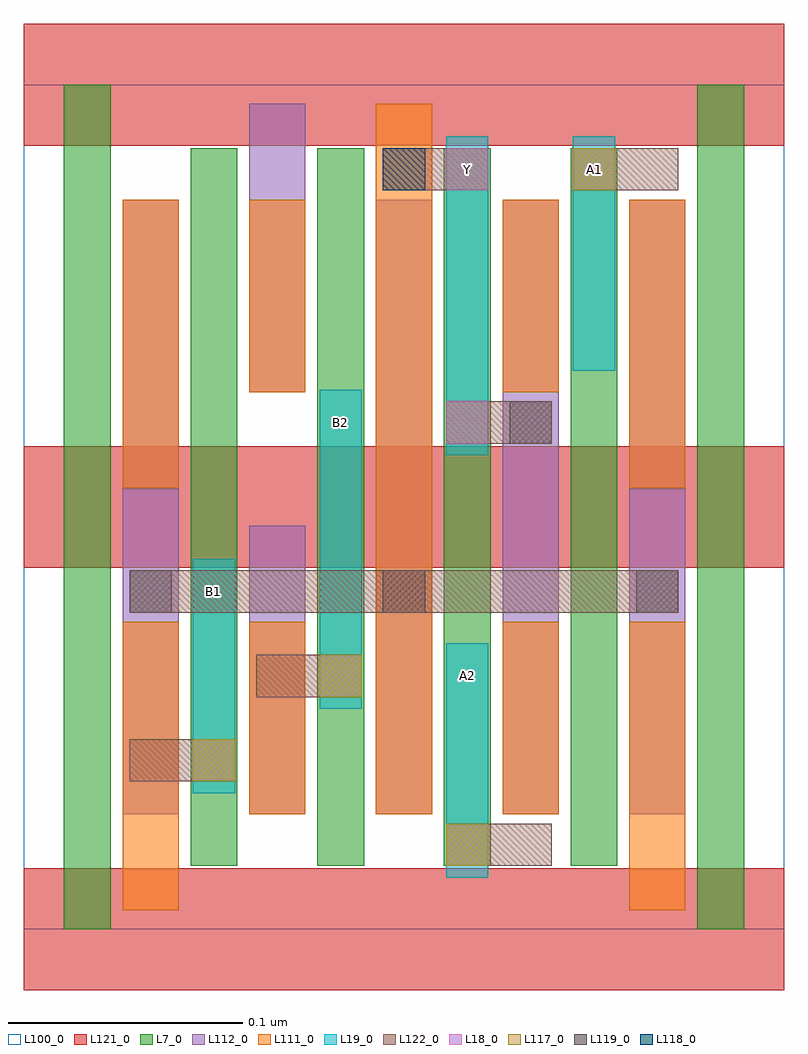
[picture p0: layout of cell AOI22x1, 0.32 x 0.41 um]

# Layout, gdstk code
import gdstk
lib = gdstk.Library(unit=1e-6, precision=2.5e-10)
def R(c, l, rs):  # rectangles x0, y0, x1, y1
    for r in rs: c.add(gdstk.rectangle(r[:2], r[2:], *l))
def A(c, l, x, y, w, h, nx, ny, dx, dy):  # array of equal rectangles
    R(c, l, [(x+i*dx, y+j*dy, x+i*dx+w, y+j*dy+h) for i in range(nx) for j in range(ny)])
L7_0 = (7, 0)
L18_0 = (18, 0)
L19_0 = (19, 0)
L100_0 = (100, 0)
L111_0 = (111, 0)
L112_0 = (112, 0)
L117_0 = (117, 0)
L118_0 = (118, 0)
L119_0 = (119, 0)
L121_0 = (121, 0)
L122_0 = (122, 0)

aoi22x1 = lib.new_cell('AOI22x1')
A(aoi22x1, L7_0, 0.071, 0.027, 0.02, 0.153, 4, 2, 0.054, 0.153)
R(aoi22x1, L7_0, [(0.017,0,0.037,0.18), (0.287,0,0.307,0.18), (0.017,0.18,0.037,0.36), (0.287,0.18,0.307,0.36)])
R(aoi22x1, L18_0, [(0.18,0.027,0.198,0.045), (0.072,0.063,0.09,0.081), (0.126,0.099,0.144,0.117), (0.18,0.207,0.198,0.225), (0.18,0.315,0.198,0.333), (0.234,0.315,0.252,0.333)])
R(aoi22x1, L19_0, [(0.18,0.022,0.198,0.122), (0.072,0.058,0.09,0.158), (0.126,0.094,0.144,0.23), (0.18,0.202,0.198,0.338), (0.234,0.238,0.252,0.338)])
R(aoi22x1, L100_0, [(0,0,0.324,0.36)])
R(aoi22x1, L111_0, [(0.042,0.008,0.066,0.131), (0.258,0.008,0.282,0.131), (0.096,0.049,0.12,0.131), (0.15,0.049,0.174,0.18), (0.204,0.049,0.228,0.131), (0.15,0.18,0.174,0.352), (0.042,0.188,0.066,0.311), (0.258,0.188,0.282,0.311), (0.096,0.229,0.12,0.311), (0.204,0.229,0.228,0.311)])
A(aoi22x1, L112_0, 0.15, 0.049, 0.024, 0.131, 3, 2, 0.054, 0.131)
R(aoi22x1, L112_0, [(0.042,0.049,0.066,0.18), (0.096,0.049,0.12,0.172), (0.042,0.18,0.066,0.311), (0.096,0.229,0.12,0.352)])
R(aoi22x1, L117_0, [(0.18,0.027,0.198,0.045), (0.072,0.063,0.09,0.081), (0.126,0.099,0.144,0.117), (0.234,0.315,0.252,0.333)])
R(aoi22x1, L118_0, [(0.153,0.315,0.171,0.333)])
A(aoi22x1, L119_0, 0.045, 0.135, 0.018, 0.018, 3, 1, 0.108, 0)
R(aoi22x1, L119_0, [(0.207,0.207,0.225,0.225)])
A(aoi22x1, L121_0, 0, -0.026, 0.324, 0.052, 1, 3, 0, 0.18)
R(aoi22x1, L122_0, [(0.18,0.027,0.225,0.045), (0.045,0.063,0.09,0.081), (0.099,0.099,0.144,0.117), (0.045,0.135,0.279,0.153), (0.18,0.207,0.225,0.225), (0.153,0.315,0.198,0.333), (0.234,0.315,0.279,0.333)])
aoi22x1.add(gdstk.Label('Y', (0.189,0.324), layer=19, texttype=251))
aoi22x1.add(gdstk.Label('B2', (0.135,0.216), layer=19, texttype=251))
aoi22x1.add(gdstk.Label('B1', (0.081,0.144), layer=19, texttype=251))
aoi22x1.add(gdstk.Label('A2', (0.189,0.108), layer=19, texttype=251))
aoi22x1.add(gdstk.Label('A1', (0.243,0.324), layer=19, texttype=251))

lib.write_gds('AOI22x1.gds')
